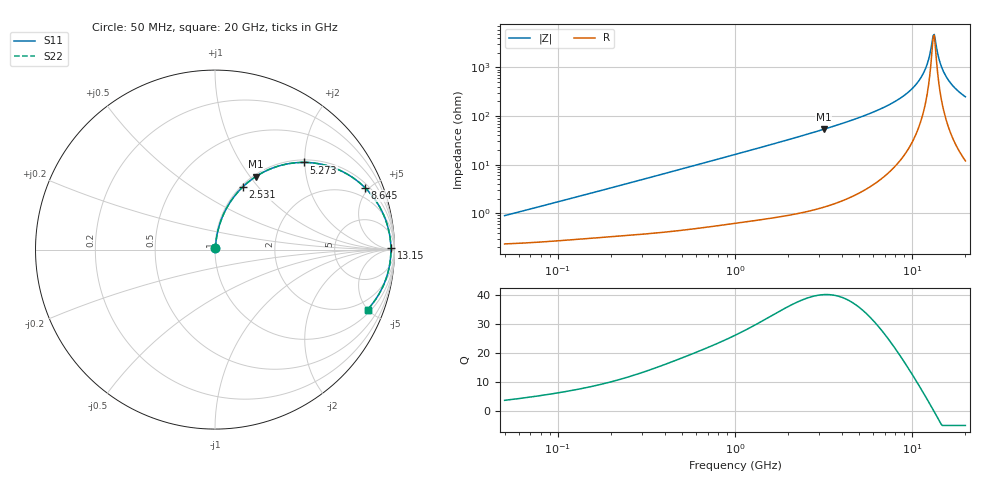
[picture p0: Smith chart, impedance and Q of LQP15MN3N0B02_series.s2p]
!Murata Part Number: LQP15MN3N0B02
!These Parameters are Measured in Series Mode Connection
!  o--[Z]--o
!Port1  Port2
!  o-------o
!Freq. Start=50[MHz] Stop=20[GHz], 401[Steps]
# Hz S RI R 50
!Freq.(Hz) S11(Real) S11(Imag) S21(Real) S21(Imag) S12(Real) S12(Imag) S22(Real) S22(Imag)
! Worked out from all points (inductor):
!   401 points, 50 MHz to 20 GHz, reference 50 ohm
!   read as one part in series: L = 2.72 nH near 51.52 MHz
!   highest Q = 40.3 at 3.169 GHz (marker M1), where L = 2.68 nH
!   self-resonance near 13.15 GHz
!   S11 on the Smith chart (normalised r, x): 50 MHz: 1.00, +0.02; 2.531 GHz: 1.02, +0.84; 5.273 GHz: 1.06, +1.99; 8.645 GHz: 1.25, +4.75; 13.15 GHz: 84, +36; 20 GHz: 1.24, -4.98
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5e7  0.0024 0.00856  0.9976 -0.00856  0.9976 -0.00856  0.0024 0.00856
1.364002e8  0.00345 0.0227  0.9965 -0.0227  0.9965 -0.0227  0.00345 0.0227
3.721004e8  0.00759 0.0601  0.9924 -0.0601  0.9924 -0.0601  0.00759 0.0601
1e9  0.0311 0.1556  0.9689 -0.1556  0.9689 -0.1556  0.0311 0.1556
1.689197e9  0.0762 0.251  0.9238 -0.251  0.9238 -0.251  0.0762 0.251
2.531158e9  0.1549 0.3492  0.8451 -0.3492  0.8451 -0.3492  0.1549 0.3492
2.728004e9  0.1763 0.3687  0.8237 -0.3687  0.8237 -0.3687  0.1763 0.3687
3.168813e9  0.2274 0.4069  0.7726 -0.4069  0.7726 -0.4069  0.2274 0.4069
5.273168e9  0.4967 0.4858  0.5033 -0.4858  0.5033 -0.4858  0.4967 0.4858
7.442007e9  0.739 0.4192  0.261 -0.4192  0.261 -0.4192  0.739 0.4192
8.644534e9  0.8369 0.3437  0.1631 -0.3437  0.1631 -0.3437  0.8369 0.3437
1.004137e10  0.9158 0.2407  0.0842 -0.2407  0.0842 -0.2407  0.9158 0.2407
1.131968e10  0.9584 0.1425  0.0416 -0.1425  0.0416 -0.1425  0.9584 0.1425
1.220001e10  0.9739 0.0764  0.0261 -0.0764  0.0261 -0.0764  0.9739 0.0764
1.295331e10  0.9796 0.0221  0.0204 -0.0221  0.0204 -0.0221  0.9796 0.0221
1.314879e10  0.9801 0.00843  0.0199 -0.00843  0.0199 -0.00843  0.9801 0.00843
1.334722e10  0.9802 -0.00525  0.0198 0.00525  0.0198 0.00525  0.9802 -0.00525
1.354865e10  0.9799 -0.0189  0.0201 0.0189  0.0201 0.0189  0.9799 -0.0189
1.438523e10  0.9749 -0.0733  0.0251 0.0733  0.0251 0.0733  0.9749 -0.0733
1.550395e10  0.9603 -0.1398  0.0397 0.1398  0.0397 0.1398  0.9603 -0.1398
1.747767e10  0.9188 -0.2389  0.0812 0.2389  0.0812 0.2389  0.9188 -0.2389
2e10  0.8497 -0.3342  0.1503 0.3342  0.1503 0.3342  0.8497 -0.3342
